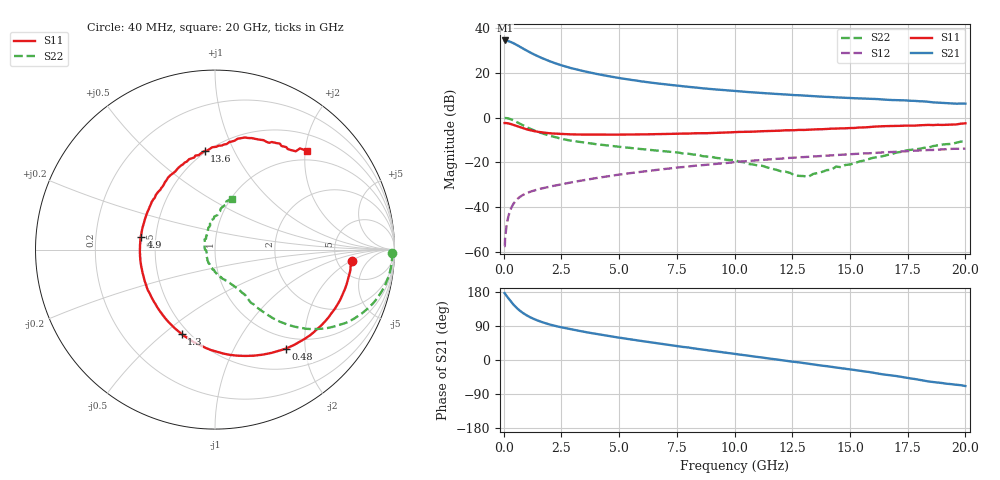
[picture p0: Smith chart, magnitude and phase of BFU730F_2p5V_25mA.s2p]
! Filename:  P:\Prog\Test\Noise\ATS_data\Testdata_Net\Split files Spar\BFU730_2W_B1_Bias9_2.5V_1mA_25mA_D.s2p
! Date/Time: Fri 29/Apr/2011 15:08:53
! BFU730_2W_B1_Bias9_2.5V_1mA_25mA_R.s2p
! MDIF S-parameter v. bias file
! BFU730_2W_B1_2.5V_1mA_25mA
! Date/time Thu Mar 17 13:38:09 2011
! VAR V_out= 2.5000
! VAR I_out= 24.9850
! VAR V_in= 0.8095
! VAR I_in= 0.0936
! Device data file deembeded for feedlines and parallel
! Original file: \Split files Spar\BFU730_2W_B1_Bias9_2.5V_1mA_25mA_R.s2p
! Feed-files: PR003V01_101208_Feed1.s2p, PR003V01_101208_Feed2.s2p
! Parallel-file: PR003V01_101208_Par.s2p
# MHz S MA R 50
!  Freq-MHz  S11-mag  S11-arg  S21-mag  S21-arg  S12-mag  S12-arg  S22-mag  S22-arg
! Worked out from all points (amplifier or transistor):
!   167 points, 40 MHz to 20 GHz, reference 50 ohm
!   highest |S21| = 34.6 dB at 50 MHz (marker M1)
!   |S21| within 3 dB of that: start of sweep to 734.1 MHz
!   unconditionally stable (mu >= 1): 3.95 GHz to 15.31 GHz
!   at 550 MHz: K = 0.25, MSG = 34.7 dB, |S12| = -36.8 dB
!   at 4.2 GHz: K = 1.02, MAG = 22.2 dB, |S12| = -26.7 dB
!   at 20 GHz: K = 0.85, MSG = 10.1 dB, |S12| = -13.8 dB
!   S11 on the Smith chart (normalised r, x): 40 MHz: 6.85, -2.07; 480 MHz: 0.80, -1.64; 1.3 GHz: 0.46, -0.58; 4.9 GHz: 0.41, +0.07; 13.6 GHz: 0.49, +0.77; 20 GHz: 0.80, +2.03
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40  0.7644 -4.7  53.48 176.6  0.00135 80.3  0.9841 -1.0
50  0.7658 -6.3  53.6 175.3  0.001342 89.8  0.9849 -2.0
140  0.7566 -16.9  52.71 168.1  0.004327 80.8  0.9795 -8.7
280  0.7318 -33.3  50.19 156.6  0.008334 74.7  0.9373 -17.7
380  0.7061 -44.4  47.75 149.2  0.0109 70.1  0.8939 -23.3
480  0.678 -54.5  45 142.5  0.01311 65.9  0.8464 -28.3
550  0.6565 -61.1  43.05 138.1  0.01443 63.6  0.8091 -31.2
650  0.6292 -69.9  40.21 132.7  0.01616 60.5  0.7613 -35.1
850  0.5809 -85.5  35.08 123.4  0.01895 56.0  0.6728 -41.0
1050  0.5413 -98.3  30.68 116.0  0.02116 53.2  0.5988 -45.1
1300  0.5056 -111.6  26.31 108.5  0.02346 51.0  0.5259 -48.6
1650  0.4713 -126.5  21.72 100.2  0.02626 49.5  0.4511 -51.8
2100  0.4455 -140.8  17.54 91.9  0.02954 48.9  0.3842 -54.5
2700  0.4291 -155.7  13.88 83.7  0.03416 48.8  0.3219 -56.3
3400  0.4206 -168.5  11.23 75.4  0.03964 48.6  0.2835 -57.8
4900  0.4201 170.1  7.913 59.9  0.05258 46.2  0.2275 -62.8
6800  0.4315 150.0  5.748 43.0  0.06974 40.7  0.1811 -71.2
10200  0.4822 121.5  3.912 14.6  0.1038 26.5  0.1039 -100.0
13400  0.5449 97.6  3.048 -11.6  0.1367 9.3  0.05524 179.8
13600  0.5528 96.0  3.017 -13.3  0.1382 8.2  0.0581 171.7
16800  0.6542 71.7  2.494 -40.6  0.1712 -10.5  0.1528 96.7
20000  0.751 47.2  2.069 -68.7  0.2039 -31.9  0.2988 71.9
